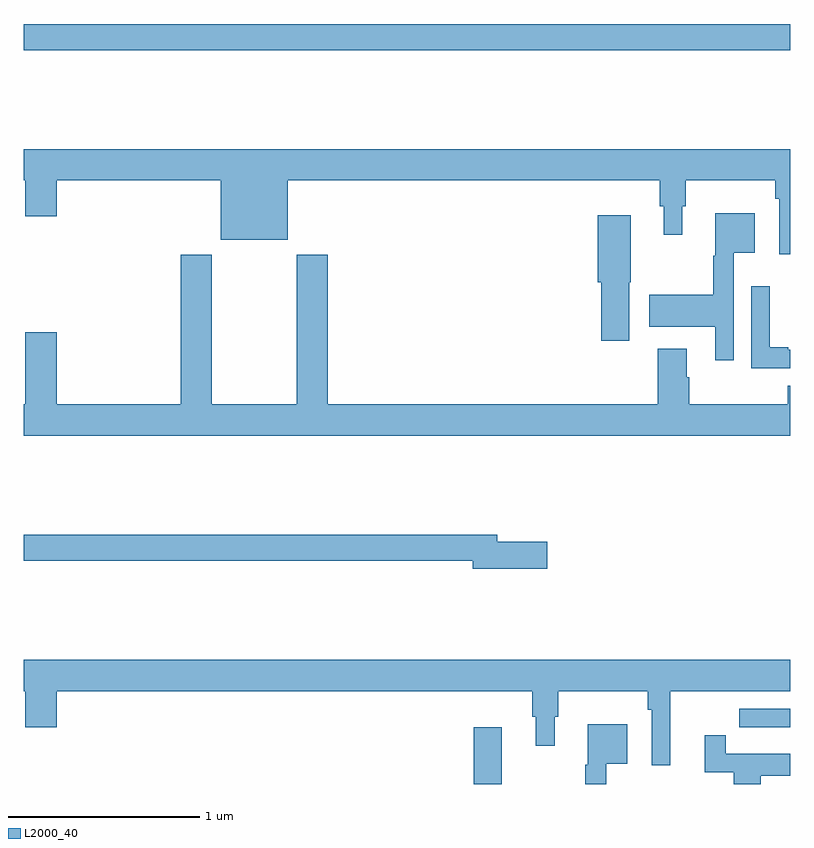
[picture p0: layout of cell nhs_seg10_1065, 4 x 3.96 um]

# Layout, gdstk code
import gdstk
lib = gdstk.Library(unit=1e-6, precision=1e-09)
def R(c, l, rs):  # rectangles x0, y0, x1, y1
    for r in rs: c.add(gdstk.rectangle(r[:2], r[2:], *l))
def P(c, l, *ps):  # polygons
    for p in ps: c.add(gdstk.Polygon(p, *l))
L2000_40 = (2000, 40)

nhs_seg10_1065 = lib.new_cell('nhs_seg10_1065')
R(nhs_seg10_1065, L2000_40, [(167.348,1298.5,167.494,1298.797), (165,1302.328,169,1302.464)])
P(nhs_seg10_1065, L2000_40, [(169,1301.812),(165,1301.812),(165,1301.648),(165.008,1301.648),(165.008,1301.46),(165.172,1301.46),(165.172,1301.648),(166.028,1301.648),(166.028,1301.339),(166.378,1301.339),(166.378,1301.648),(168.319,1301.648),(168.319,1301.514),(168.338,1301.514),(168.338,1301.364),(168.436,1301.364),(168.436,1301.514),(168.455,1301.514),(168.455,1301.648),(168.922,1301.648),(168.922,1301.552),(168.942,1301.552),(168.942,1301.262),(169,1301.262)],
  [(168.705,1301.27),(168.814,1301.27),(168.814,1301.476),(168.608,1301.476),(168.608,1301.256),(168.597,1301.256),(168.597,1301.052),(168.264,1301.052),(168.264,1300.886),(168.608,1300.886),(168.608,1300.71),(168.705,1300.71)],
  [(168.16,1301.118),(168.166,1301.118),(168.166,1301.467),(167.996,1301.467),(167.996,1301.118),(168.014,1301.118),(168.014,1300.812),(168.16,1300.812)],
  [(169,1300.578),(168.986,1300.578),(168.986,1300.48),(168.473,1300.48),(168.473,1300.622),(168.46,1300.622),(168.46,1300.771),(168.308,1300.771),(168.308,1300.48),(166.586,1300.48),(166.586,1301.26),(166.426,1301.26),(166.426,1300.48),(165.981,1300.48),(165.981,1301.26),(165.821,1301.26),(165.821,1300.48),(165.172,1300.48),(165.172,1300.855),(165.008,1300.855),(165.008,1300.48),(165,1300.48),(165,1300.316),(169,1300.316)],
  [(169,1300.764),(168.988,1300.764),(168.988,1300.777),(168.892,1300.777),(168.892,1301.095),(168.795,1301.095),(168.795,1300.668),(169,1300.668)],
  [(167.731,1299.764),(167.47,1299.764),(167.47,1299.8),(165,1299.8),(165,1299.664),(167.342,1299.664),(167.342,1299.622),(167.731,1299.622)],
  [(168.374,1298.984),(169,1298.984),(169,1299.148),(165,1299.148),(165,1298.984),(165.008,1298.984),(165.008,1298.796),(165.172,1298.796),(165.172,1298.984),(167.653,1298.984),(167.653,1298.85),(167.672,1298.85),(167.672,1298.7),(167.77,1298.7),(167.77,1298.85),(167.789,1298.85),(167.789,1298.984),(168.256,1298.984),(168.256,1298.888),(168.276,1298.888),(168.276,1298.598),(168.374,1298.598)],
  [(169,1298.892),(168.732,1298.892),(168.732,1298.796),(168.844,1298.796),(168.844,1298.795),(169,1298.795)],
  [(168.039,1298.606),(168.148,1298.606),(168.148,1298.812),(167.942,1298.812),(167.942,1298.6),(167.931,1298.6),(167.931,1298.5),(168.039,1298.5)],
  [(168.844,1298.542),(169,1298.542),(169,1298.658),(168.662,1298.658),(168.662,1298.755),(168.554,1298.755),(168.554,1298.562),(168.704,1298.562),(168.704,1298.5),(168.844,1298.5)])

lib.write_gds('nhs_seg10_1065.gds')
